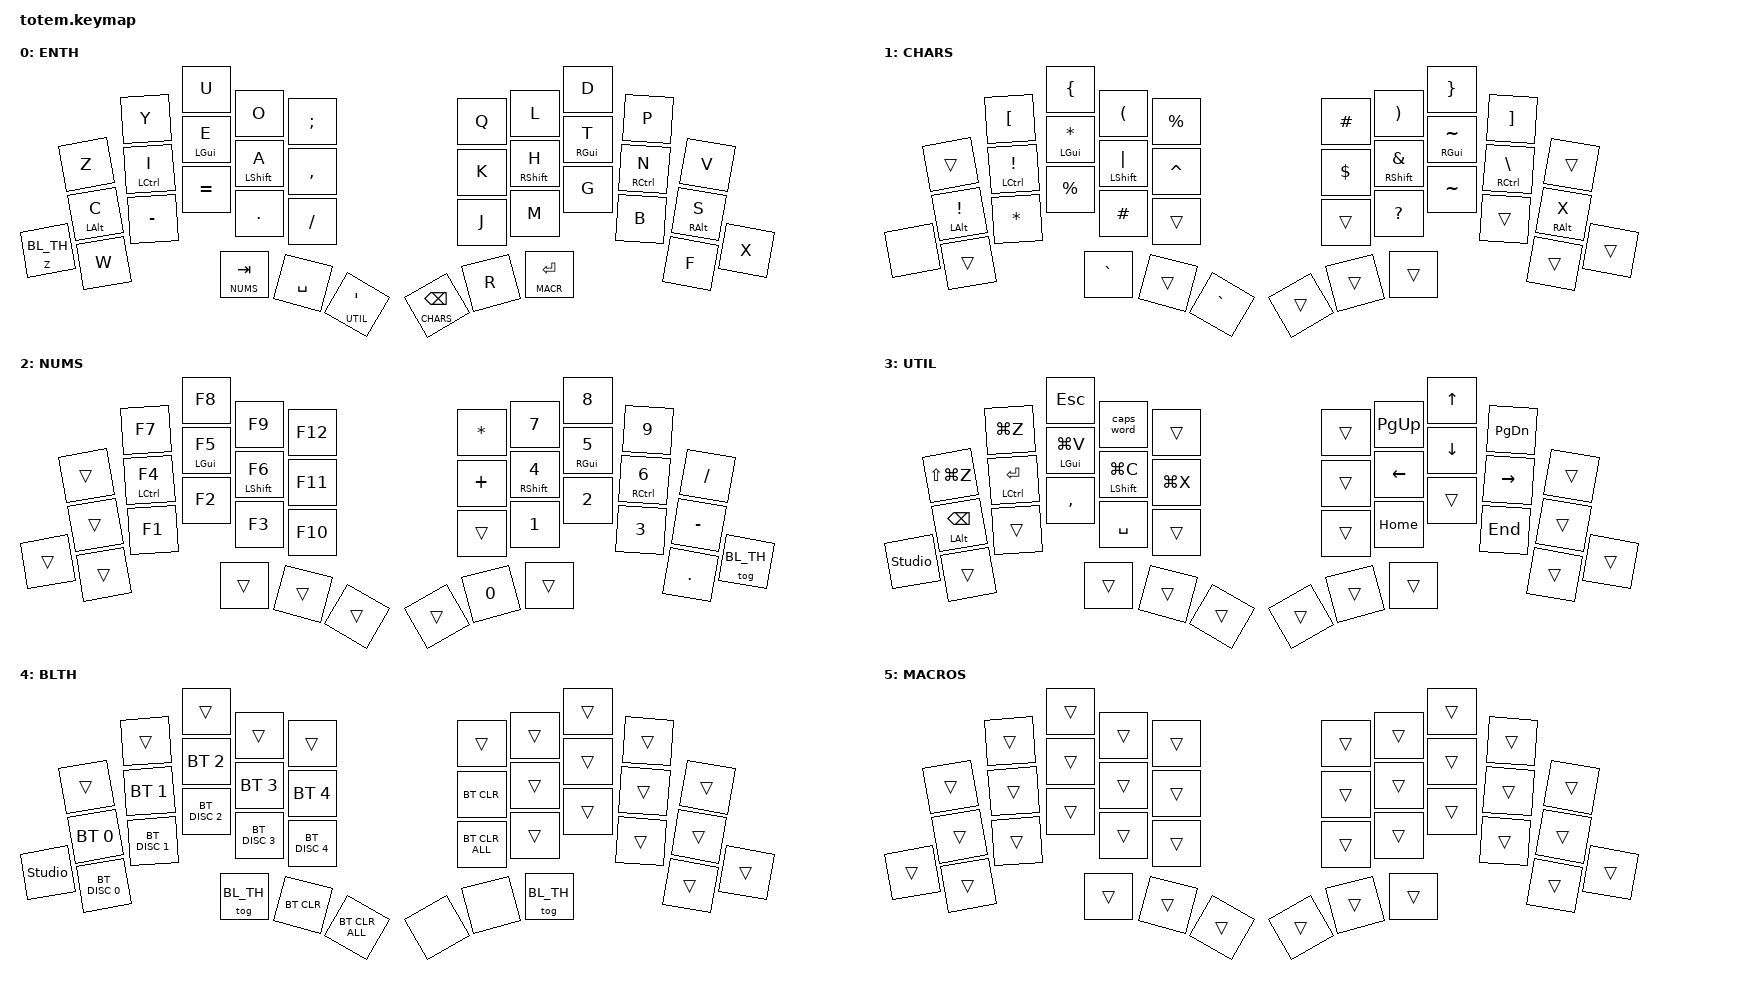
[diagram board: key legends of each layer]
//
//                                                        ▀▀▀▀▀     ▀▀▀▀▀          ▀▀█▀▀
//                                                        ▄▀▀▀▄  ▄  ▄▀▀▀▄  ▄  ▄▀▀▀▄  █  ▄▀▀▀▄
//                                                        █   █  █  █   █  █  █   █  █  █   █
//                                                         ▀▀▀   █   ▀▀▀   █   ▀▀▀   ▀   ▀▀▀
//                                                               █      ▄▄▄█▄▄▄    █   █  
//                                                               ▀      █  █  █     █▄█
//                                                             ▀▀▀▀▀    █  █  █      ▀
//                                                                      ▀  ▀  ▀
//
// ▄▄▄▄▄▄▄▄▄▄▄▄▄▄▄▄▄▄▄▄▄▄▄▄▄▄▄▄▄▄▄▄▄▄▄▄▄▄▄▄▄▄▄▄▄▄▄▄▄▄▄▄▄▄▄▄▄▄▄▄▄▄▄▄▄▄▄▄▄▄▄▄▄▄▄▄▄▄▄▄▄▄▄▄▄▄▄▄▄▄▄▄▄▄▄▄▄▄▄▄▄▄▄▄▄▄▄▄▄▄▄▄▄▄▄▄▄▄▄▄▄▄▄▄▄▄▄▄▄▄▄▄▄▄▄▄▄▄▄▄▄▄▄▄▄▄▄▄▄
       
#include <behaviors.dtsi>
#include <dt-bindings/zmk/keys.h>
#include <dt-bindings/zmk/bt.h>
#include <dt-bindings/zmk/outputs.h>

#define ENTH   0
#define CHARS  1
#define NUMS   2
#define UTIL   3
#define BL_TH  4
#define MACR   5

&lt {
        flavor = "hold-preferred";
        quick-tap-ms = <175>;
        tapping-term-ms = <240>;
};

&caps_word {
    continue-list = <UNDERSCORE MINUS>;
};

/ {
        behaviors {
                hml: home_row_mod_left {
                        compatible = "zmk,behavior-hold-tap";
                        #binding-cells = <2>;
                        flavor = "balanced";
                        require-prior-idle-ms = <150>;
                        tapping-term-ms = <240>;
                        quick-tap-ms = <175>;
                        bindings = <&kp>, <&kp>;
                        hold-trigger-key-positions = <5 6 7 8 9 15 16 17 18 19 26 27 28 29 30 31 32 33 34 35 36 37>;
                        hold-trigger-on-release;
                };
                hmr: home_row_mod_right {
                        compatible = "zmk,behavior-hold-tap";
                        #binding-cells = <2>;
                        flavor = "balanced";
                        require-prior-idle-ms = <150>;
                        tapping-term-ms = <240>;
                        quick-tap-ms = <175>;
                        bindings = <&kp>, <&kp>;
                        hold-trigger-key-positions = <0 1 2 3 4 10 11 12 13 14 20 21 22 23 24 25 32 33 34 35 37>;
                        hold-trigger-on-release;
                };
                stl: shift_tap_left {
                        compatible = "zmk,behavior-hold-tap";
                        #binding-cells = <2>;
                        flavor = "balanced";
                        tapping-term-ms = <125>;
                        quick-tap-ms = <175>;
                        bindings = <&kp>, <&kp>;
                        hold-trigger-key-positions = <5 6 7 8 9 15 16 17 18 19 26 27 28 29 30 31 35 36 37>;
                };
                str: shift_tap_right {
                        compatible = "zmk,behavior-hold-tap";
                        #binding-cells = <2>;
                        flavor = "balanced";
                        tapping-term-ms = <125>;
                        quick-tap-ms = <175>;
                        bindings = <&kp>, <&kp>;
                        hold-trigger-key-positions = <0 1 2 3 4 10 11 12 13 14 20 21 22 23 24 25 32 33 34 35 37>;
                };
        };

        keymap {
                compatible = "zmk,keymap";
// ▄▄▄▄▄▄▄▄▄▄▄▄▄▄▄▄▄▄▄▄▄▄▄▄▄▄▄▄▄▄▄▄▄▄▄▄▄▄▄▄▄▄▄▄▄▄▄▄▄▄▄▄▄▄▄▄▄▄▄▄▄▄▄▄▄▄▄▄▄▄▄▄▄▄▄▄▄▄▄▄▄▄▄▄▄▄▄▄▄▄▄▄▄▄▄▄▄▄▄▄▄▄▄▄▄▄▄▄▄▄▄▄▄▄▄▄▄▄▄▄▄▄▄▄▄▄▄▄▄▄▄▄▄▄▄▄▄▄▄▄▄▄▄▄▄▄▄▄▄

                enthium_layer {
                        display-name = "ENTH";
                        bindings = <
                &kp Z        &kp Y         &kp U           &kp O         &kp SEMI                &kp Q           &kp L          &kp D        &kp P         &kp V
                &hml LALT C  &hml LCTRL I  &hml LGUI E     &stl LSHFT A  &kp COMMA               &kp K           &str RSHIFT H  &hmr RGUI T  &hmr RCTRL N  &hmr RALT S
&lt Z BL_TH     &kp W        &kp MINUS     &kp EQUAL       &kp DOT       &kp FSLH                &kp J           &kp M          &kp G        &kp B         &kp F        &kp X
                                           &lt NUMS TAB    &kp SPACE     &lt UTIL SQT            &lt CHARS BSPC  &kp R          &lt MACR ENTER
                        >;
                };

// ▄▄▄▄▄▄▄▄▄▄▄▄▄▄▄▄▄▄▄▄▄▄▄▄▄▄▄▄▄▄▄▄▄▄▄▄▄▄▄▄▄▄▄▄▄▄▄▄▄▄▄▄▄▄▄▄▄▄▄▄▄▄▄▄▄▄▄▄▄▄▄▄▄▄▄▄▄▄▄▄▄▄▄▄▄▄▄▄▄▄▄▄▄▄▄▄▄▄▄▄▄▄▄▄▄▄▄▄▄▄▄▄▄▄▄▄▄▄▄▄▄▄▄▄▄▄▄▄▄▄▄▄▄▄▄▄▄▄▄▄▄▄▄▄▄▄▄▄▄

                special_characters_layer {
                        display-name = "CHARS";
                        bindings = <
                &trans            &kp LBKT          &kp LBRC         &kp LPAR          &kp PRCNT                &kp HASH    &kp RPAR             &kp RBRC         &kp RBKT              &trans    
                &hml LALT EXCL    &hml LCTRL EXCL   &hml LGUI STAR   &stl LSHFT PIPE   &kp CARET                &kp DLLR    &str RSHFT AMPS      &hmr RGUI TILDE  &hmr RCTRL BSLH       &hmr RALT X
   &none        &trans            &kp STAR          &kp PRCNT        &kp HASH          &trans                   &trans      &kp QMARK            &kp TILDE        &trans                &trans          &trans
                                                    &kp GRAVE        &trans            &kp GRAVE                &trans      &trans               &trans      
                        >;
                };

// ▄▄▄▄▄▄▄▄▄▄▄▄▄▄▄▄▄▄▄▄▄▄▄▄▄▄▄▄▄▄▄▄▄▄▄▄▄▄▄▄▄▄▄▄▄▄▄▄▄▄▄▄▄▄▄▄▄▄▄▄▄▄▄▄▄▄▄▄▄▄▄▄▄▄▄▄▄▄▄▄▄▄▄▄▄▄▄▄▄▄▄▄▄▄▄▄▄▄▄▄▄▄▄▄▄▄▄▄▄▄▄▄▄▄▄▄▄▄▄▄▄▄▄▄▄▄▄▄▄▄▄▄▄▄▄▄▄▄▄▄▄▄▄▄▄▄▄▄▄

                numbers_layer {
                        display-name = "NUMS";
                        bindings = <
                &trans      &kp F7         &kp F8        &kp F9         &kp F12                    &kp STAR    &kp N7         &kp N8        &kp N9         &kp FSLH    
                &trans      &hml LCTRL F4  &hml LGUI F5  &stl LSHFT F6  &kp F11                    &kp PLUS    &str RSHFT N4  &hmr RGUI N5  &hmr RCTRL N6  &kp MINUS    
        &trans  &trans      &kp F1         &kp F2        &kp F3         &kp F10                    &trans      &kp N1         &kp N2        &kp N3         &kp DOT      &tog BL_TH 
                                           &trans        &trans         &trans                     &trans      &kp N0         &trans      
                        >;
                };

// ▄▄▄▄▄▄▄▄▄▄▄▄▄▄▄▄▄▄▄▄▄▄▄▄▄▄▄▄▄▄▄▄▄▄▄▄▄▄▄▄▄▄▄▄▄▄▄▄▄▄▄▄▄▄▄▄▄▄▄▄▄▄▄▄▄▄▄▄▄▄▄▄▄▄▄▄▄▄▄▄▄▄▄▄▄▄▄▄▄▄▄▄▄▄▄▄▄▄▄▄▄▄▄▄▄▄▄▄▄▄▄▄▄▄▄▄▄▄▄▄▄▄▄▄▄▄▄▄▄▄▄▄▄▄▄▄▄▄▄▄▄▄▄▄▄▄▄▄▄

                utility_layer {
                        display-name = "UTIL";
                        bindings = <
                &kp LS(LG(Z))   &kp LG(Z)         &kp ESC          &caps_word          &trans                         &trans          &kp PG_UP       &kp UP      &kp PG_DN   &trans    
                &hml LALT BSPC  &hml LCTRL ENTER  &hml LGUI LG(V)  &stl LSHFT LG(C)    &kp LG(X)                      &trans          &kp LEFT        &kp DOWN    &kp RIGHT   &trans    
&studio_unlock  &trans          &trans            &kp COMMA        &kp SPACE           &trans                         &trans          &kp HOME        &trans      &kp END     &trans      &trans
                                                  &trans           &trans              &trans                         &trans          &trans          &trans      
                        >;
                };

// ▄▄▄▄▄▄▄▄▄▄▄▄▄▄▄▄▄▄▄▄▄▄▄▄▄▄▄▄▄▄▄▄▄▄▄▄▄▄▄▄▄▄▄▄▄▄▄▄▄▄▄▄▄▄▄▄▄▄▄▄▄▄▄▄▄▄▄▄▄▄▄▄▄▄▄▄▄▄▄▄▄▄▄▄▄▄▄▄▄▄▄▄▄▄▄▄▄▄▄▄▄▄▄▄▄▄▄▄▄▄▄▄▄▄▄▄▄▄▄▄▄▄▄▄▄▄▄▄▄▄▄▄▄▄▄▄▄▄▄▄▄▄▄▄▄▄▄▄▄

                bluetooth_layer {
                        display-name = "BLTH";
                        bindings = <
                &trans         &trans         &trans         &trans         &trans                 &trans          &trans        &trans        &trans        &trans
                &bt BT_SEL 0   &bt BT_SEL 1   &bt BT_SEL 2   &bt BT_SEL 3   &bt BT_SEL 4           &bt BT_CLR      &trans        &trans        &trans        &trans
&studio_unlock  &bt BT_DISC 0  &bt BT_DISC 1  &bt BT_DISC 2  &bt BT_DISC 3  &bt BT_DISC 4          &bt BT_CLR_ALL  &trans        &trans        &trans        &trans  &trans
                                              &tog BL_TH     &bt BT_CLR     &bt BT_CLR_ALL         &none           &none         &tog BL_TH
                        >;
                };

// ▄▄▄▄▄▄▄▄▄▄▄▄▄▄▄▄▄▄▄▄▄▄▄▄▄▄▄▄▄▄▄▄▄▄▄▄▄▄▄▄▄▄▄▄▄▄▄▄▄▄▄▄▄▄▄▄▄▄▄▄▄▄▄▄▄▄▄▄▄▄▄▄▄▄▄▄▄▄▄▄▄▄▄▄▄▄▄▄▄▄▄▄▄▄▄▄▄▄▄▄▄▄▄▄▄▄▄▄▄▄▄▄▄▄▄▄▄▄▄▄▄▄▄▄▄▄▄▄▄▄▄▄▄▄▄▄▄▄▄▄▄▄▄▄▄▄▄▄▄

                macros_layer {
                        display-name = "MACROS";
                        bindings = <
                &trans      &trans      &trans      &trans      &trans                           &trans      &trans      &trans      &trans      &trans    
                &trans      &trans      &trans      &trans      &trans                           &trans      &trans      &trans      &trans      &trans    
        &trans  &trans      &trans      &trans      &trans      &trans                           &trans      &trans      &trans      &trans      &trans      &trans
                                        &trans      &trans      &trans                           &trans      &trans      &trans      
                        >;
                };
        };
};

